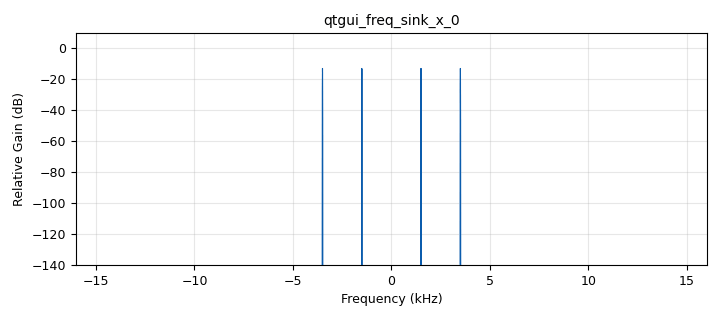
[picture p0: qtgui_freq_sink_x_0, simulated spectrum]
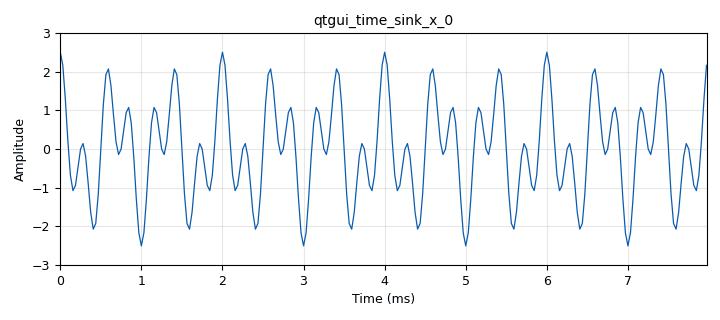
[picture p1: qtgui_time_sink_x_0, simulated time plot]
options:
  parameters:
    author: rcampello
    generate_options: qt_gui
    id: E1B
    output_language: python
    title: E1-B
  states: {}

blocks:
- name: f0
  id: variable_qtgui_range
  parameters:
    gui_hint: 1, 1, 1, 1
    orient: Qt.Horizontal
    start: '-5000'
    step: '1'
    stop: '5000'
    value: '1000'
  states: {}
- name: offset
  id: variable_qtgui_range
  parameters:
    gui_hint: 0, 1, 1, 1
    orient: Qt.Horizontal
    start: '-1'
    step: '0.01'
    stop: '1'
    value: '0'
  states: {}
- name: samp_rate
  id: variable
  parameters:
    value: '32000'
  states: {}
- name: samp_rate_0
  id: variable
  parameters:
    value: '32000'
  states: {}
- name: samp_rate_0_0
  id: variable
  parameters:
    value: '32000'
  states: {}
- name: waveform
  id: variable_qtgui_chooser
  parameters:
    gui_hint: 0, 0, 2, 1
    label0: Cosine
    label1: Rectangular
    label2: Triangular
    num_opts: '3'
    option1: '103'
    option2: '104'
    type: int
    value: '102'
    widget: radio_buttons
  states: {}
- name: analog_sig_source_x_0
  id: analog_sig_source_x
  parameters:
    amp: '1'
    freq: f0
    offset: offset
    phase: '0'
    samp_rate: samp_rate
    type: float
    waveform: waveform
  states: {}
- name: analog_sig_source_x_0_0
  id: analog_sig_source_x
  parameters:
    amp: '1'
    freq: 2.5 * f0
    offset: offset
    phase: '0'
    samp_rate: samp_rate
    type: float
    waveform: waveform
  states: {}
- name: blocks_add_xx_0
  id: blocks_add_xx
  parameters:
    type: float
  states: {state: disabled}
- name: blocks_multiply_const_vxx_0
  id: blocks_multiply_const_vxx
  parameters:
    const: '2.5'
    type: float
  states: {}
- name: blocks_multiply_xx_0
  id: blocks_multiply_xx
  parameters:
    type: float
  states: {}
- name: blocks_throttle_0
  id: blocks_throttle
  parameters:
    samples_per_second: samp_rate
    type: float
  states: {}
- name: qtgui_freq_sink_x_0
  id: qtgui_freq_sink_x
  parameters:
    bw: samp_rate
    fc: '0'
    fftsize: 1024 * 8
    grid: 'True'
    gui_hint: 2, 1, 1, 1
    type: float
    wintype: firdes.WIN_BLACKMAN_hARRIS
  states: {}
- name: qtgui_time_sink_x_0
  id: qtgui_time_sink_x
  parameters:
    grid: 'True'
    gui_hint: 2, 0, 1, 1
    size: 1024 // 4
    srate: samp_rate
    type: float
    ymax: '3'
    ymin: '-3'
  states: {}

connections:
- [analog_sig_source_x_0, '0', blocks_add_xx_0, '0']
- [analog_sig_source_x_0, '0', blocks_multiply_xx_0, '0']
- [analog_sig_source_x_0_0, '0', blocks_multiply_const_vxx_0, '0']
- [blocks_add_xx_0, '0', blocks_throttle_0, '0']
- [blocks_multiply_const_vxx_0, '0', blocks_add_xx_0, '1']
- [blocks_multiply_const_vxx_0, '0', blocks_multiply_xx_0, '1']
- [blocks_multiply_xx_0, '0', blocks_throttle_0, '0']
- [blocks_throttle_0, '0', qtgui_freq_sink_x_0, '0']
- [blocks_throttle_0, '0', qtgui_time_sink_x_0, '0']

metadata:
  file_format: 1
